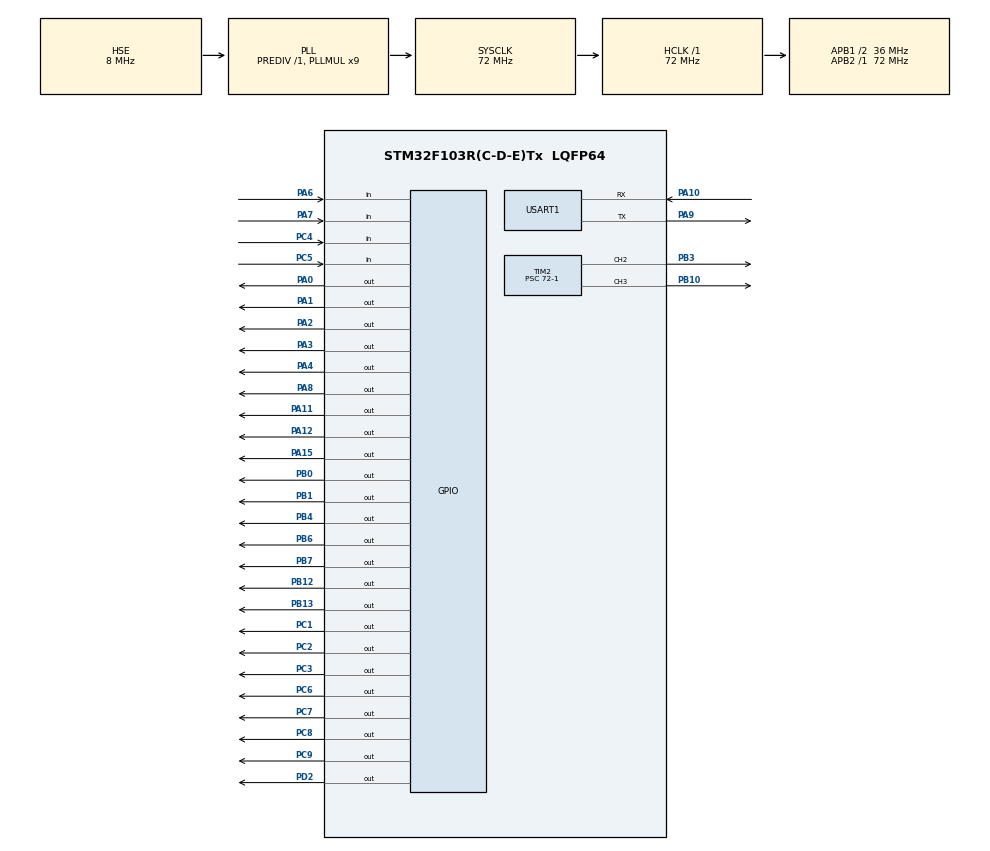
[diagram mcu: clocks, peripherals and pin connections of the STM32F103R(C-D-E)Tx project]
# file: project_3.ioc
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Mcu.Family=STM32F1
Mcu.Name=STM32F103R(C-D-E)Tx
Mcu.Package=LQFP64
NVIC.PriorityGroup=NVIC_PRIORITYGROUP_4
NVIC.USART1_IRQn=true\:0\:0\:false\:false\:true\:true
PA0-WKUP.PinState=GPIO_PIN_SET
PA0-WKUP.Signal=GPIO_Output
PA1.PinState=GPIO_PIN_SET
PA1.Signal=GPIO_Output
PA10.Mode=Asynchronous
PA10.Signal=USART1_RX
PA11.Signal=GPIO_Output
PA12.Signal=GPIO_Output
PA15.Signal=GPIO_Output
PA2.PinState=GPIO_PIN_SET
PA2.Signal=GPIO_Output
PA3.PinState=GPIO_PIN_SET
PA3.Signal=GPIO_Output
PA4.PinState=GPIO_PIN_SET
PA4.Signal=GPIO_Output
PA6.Signal=GPIO_Input
PA7.Signal=GPIO_Input
PA8.Signal=GPIO_Output
PA9.Mode=Asynchronous
PA9.Signal=USART1_TX
PB0.Signal=GPIO_Output
PB1.Signal=GPIO_Output
PB10.GPIO_Speed=GPIO_SPEED_FREQ_HIGH
PB10.Signal=S_TIM2_CH3
PB12.Signal=GPIO_Output
PB13.Signal=GPIO_Output
PB3.GPIO_Speed=GPIO_SPEED_FREQ_HIGH
PB3.Signal=S_TIM2_CH2
PB4.Signal=GPIO_Output
PB6.Signal=GPIO_Output
PB7.Signal=GPIO_Output
PC1.PinState=GPIO_PIN_SET
PC1.Signal=GPIO_Output
PC2.PinState=GPIO_PIN_SET
PC2.Signal=GPIO_Output
PC3.PinState=GPIO_PIN_SET
PC3.Signal=GPIO_Output
PC4.Signal=GPIO_Input
PC5.Signal=GPIO_Input
PC6.Signal=GPIO_Output
PC7.Signal=GPIO_Output
PC8.Signal=GPIO_Output
PC9.Signal=GPIO_Output
PD0-OSC_IN.Mode=HSE-External-Oscillator
PD0-OSC_IN.Signal=RCC_OSC_IN
PD1-OSC_OUT.Mode=HSE-External-Oscillator
PD1-OSC_OUT.Signal=RCC_OSC_OUT
PD2.Signal=GPIO_Output
ProjectManager.HeapSize=0x200
ProjectManager.StackSize=0x400
ProjectManager.TargetToolchain=MDK-ARM V5
RCC.AHBFreq_Value=72000000
RCC.APB1CLKDivider=RCC_HCLK_DIV2
RCC.APB1Freq_Value=36000000
RCC.APB1TimFreq_Value=72000000
RCC.APB2Freq_Value=72000000
RCC.APB2TimFreq_Value=72000000
RCC.HCLKFreq_Value=72000000
RCC.PLLMUL=RCC_PLL_MUL9
RCC.PLLSourceVirtual=RCC_PLLSOURCE_HSE
RCC.SYSCLKFreq_VALUE=72000000
RCC.SYSCLKSource=RCC_SYSCLKSOURCE_PLLCLK
RCC.USBFreq_Value=72000000
SH.S_TIM2_CH2.0=TIM2_CH2,PWM Generation2 CH2
SH.S_TIM2_CH3.0=TIM2_CH3,PWM Generation3 CH3
TIM2.AutoReloadPreload=TIM_AUTORELOAD_PRELOAD_DISABLE
TIM2.Channel-PWM\ Generation2\ CH2=TIM_CHANNEL_2
TIM2.Channel-PWM\ Generation3\ CH3=TIM_CHANNEL_3
TIM2.OCMode_PWM-PWM\ Generation3\ CH3=TIM_OCMODE_PWM2
TIM2.OCPolarity_2=TIM_OCPOLARITY_HIGH
TIM2.Period=1000-1
TIM2.Prescaler=72-1
USART1.VirtualMode=VM_ASYNC
VP_SYS_VS_ND.Mode=No_Debug
VP_TIM2_VS_ClockSourceINT.Mode=Internal
board=custom

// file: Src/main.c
/* USER CODE BEGIN Header */
/**
  ******************************************************************************
  * @file           : main.c
  * @brief          : Main program body
  ******************************************************************************
  ** This notice applies to any and all portions of this file
  * that are not between comment pairs USER CODE BEGIN and
  * USER CODE END. Other portions of this file, whether
  * inserted by the user or by software development tools
  * are owned by their respective copyright owners.
  *
  * COPYRIGHT(c) 2019 STMicroelectronics
  *
  * Redistribution and use in source and binary forms, with or without modification,
  * are permitted provided that the following conditions are met:
  *   1. Redistributions of source code must retain the above copyright notice,
  *      this list of conditions and the following disclaimer.
  *   2. Redistributions in binary form must reproduce the above copyright notice,
  *      this list of conditions and the following disclaimer in the documentation
  *      and/or other materials provided with the distribution.
  *   3. Neither the name of STMicroelectronics nor the names of its contributors
  *      may be used to endorse or promote products derived from this software
  *      without specific prior written permission.
  *
  * THIS SOFTWARE IS PROVIDED BY THE COPYRIGHT HOLDERS AND CONTRIBUTORS "AS IS"
  * AND ANY EXPRESS OR IMPLIED WARRANTIES, INCLUDING, BUT NOT LIMITED TO, THE
  * IMPLIED WARRANTIES OF MERCHANTABILITY AND FITNESS FOR A PARTICULAR PURPOSE ARE
  * DISCLAIMED. IN NO EVENT SHALL THE COPYRIGHT HOLDER OR CONTRIBUTORS BE LIABLE
  * FOR ANY DIRECT, INDIRECT, INCIDENTAL, SPECIAL, EXEMPLARY, OR CONSEQUENTIAL
  * DAMAGES (INCLUDING, BUT NOT LIMITED TO, PROCUREMENT OF SUBSTITUTE GOODS OR
  * SERVICES; LOSS OF USE, DATA, OR PROFITS; OR BUSINESS INTERRUPTION) HOWEVER
  * CAUSED AND ON ANY THEORY OF LIABILITY, WHETHER IN CONTRACT, STRICT LIABILITY,
  * OR TORT (INCLUDING NEGLIGENCE OR OTHERWISE) ARISING IN ANY WAY OUT OF THE USE
  * OF THIS SOFTWARE, EVEN IF ADVISED OF THE POSSIBILITY OF SUCH DAMAGE.
  *
  ******************************************************************************
  */
/* USER CODE END Header */

#include "main.h"

TIM_HandleTypeDef htim2;

UART_HandleTypeDef huart1;

void SystemClock_Config(void);
static void MX_GPIO_Init(void);
static void MX_USART1_UART_Init(void);
static void MX_TIM2_Init(void);
/* USER CODE BEGIN PFP */
int Tick_ms = 0; // 计时用的
int led_hight = 0; // 放到callback中 循环显示led灯
int time_meter = 0; // 时间计数
int time_minute =0;
int time_second =0;
int judge =0 ;// 初始化一个值来判断是否让数码管显示    或变换?
int function_key = 16; // 为实现多个功能设置功能选项键能够切换多个功能
/* USER CODE END PFP */

/* USER CODE BEGIN 0 */
struct GPIO_PACK{
		GPIO_TypeDef * port;
		uint16_t pin;
	};
	struct GPIO_PACK segs[8]= {
	{GPIOA,GPIO_PIN_15},
	{GPIOA,GPIO_PIN_11},
	{GPIOC,GPIO_PIN_9},
	{GPIOC,GPIO_PIN_7},
	{GPIOC,GPIO_PIN_8},
	{GPIOA,GPIO_PIN_12},
	{GPIOA,GPIO_PIN_8},
	{GPIOC,GPIO_PIN_6},
	}	;
	struct GPIO_PACK bits[4]={
	{GPIOD,GPIO_PIN_2},
	{GPIOB,GPIO_PIN_4},
	{GPIOB,GPIO_PIN_6},
	{GPIOB,GPIO_PIN_7},

	};
	struct GPIO_PACK led_array[8]=
{
	{GPIOA,GPIO_PIN_4},
	{GPIOA,GPIO_PIN_3},
	{GPIOA,GPIO_PIN_2},
	{GPIOA,GPIO_PIN_1},
	{GPIOA,GPIO_PIN_0},
	{GPIOC,GPIO_PIN_3},
	{GPIOC,GPIO_PIN_2},
	{GPIOC,GPIO_PIN_1},
};
uint8_t shuzu[]={
	0xc0,0xf9,0xa4,0xb0,0x99,0x92,0x82,
	0xf8,0x80,0x90
};
uint8_t shuzu2[] = {
	0x40,0x79,0x24,0x30,0x19,0x12,0x2,
	0x78,0x0,0x10
};
void delay1ms (unsigned int a){ // 1ms????(12MHz 10??51??????)
	unsigned int i;
	while( a-- != 0){
		for(i = 0; i < 600; i++);
	}
}
void DisplayOnebit(uint8_t digtal,uint8_t bit){
		uint8_t i;
		for(i=0;i<8;i++){
			HAL_GPIO_WritePin(segs[i].port,segs[i].pin,(GPIO_PinState)(shuzu[digtal]&(0x01<<i)));
		}
		for(i=0;i<4;i++){
			HAL_GPIO_WritePin(bits[i].port,bits[i].pin,(GPIO_PinState)(i!=bit));
		}
		delay1ms(5);
}
void DisplayOnebit2(uint8_t digtal,uint8_t bit){
		uint8_t i;
		for(i=0;i<8;i++){
			HAL_GPIO_WritePin(segs[i].port,segs[i].pin,(GPIO_PinState)(shuzu2[digtal]&(0x01<<i)));
		}
		for(i=0;i<4;i++){
			HAL_GPIO_WritePin(bits[i].port,bits[i].pin,(GPIO_PinState)(i!=bit));
		}
		//HAL_Delay(2);
		delay1ms(5);
}

void DisplayDigtal(uint16_t digtal){
	int a=0;

	DisplayOnebit(digtal%10,0);
	HAL_Delay(5);
	if (digtal>=10){
	DisplayOnebit(digtal/10%10,1);
	HAL_Delay(5);
	if (digtal>=100){
	DisplayOnebit(digtal/100%10,2);
	HAL_Delay(5);
	if (digtal>=1000){
	DisplayOnebit(digtal/1000%10,3);
	HAL_Delay(5);

				}
			}
		}
}
struct GPIO_PACK lie[4]={
   {GPIOB,GPIO_PIN_0},
   {GPIOB,GPIO_PIN_1},
   {GPIOB,GPIO_PIN_13},
   {GPIOB,GPIO_PIN_12}
};
struct GPIO_PACK hang[4]={
   {GPIOA,GPIO_PIN_6},
   {GPIOA,GPIO_PIN_7},
   {GPIOC,GPIO_PIN_4},
   {GPIOC,GPIO_PIN_5}
};
void Displaykeying()
	{
		uint8_t i,j,s,key=0;uint8_t k=1;
		for(i=0;i<4;i++)
	{	 HAL_GPIO_WritePin(lie[i].port,lie[i].pin,GPIO_PIN_RESET);
		for(s=0;s<4;s++){
		if(i!=s)
			HAL_GPIO_WritePin(lie[s].port,lie[s].pin,GPIO_PIN_SET);}
		for(j=0;j<4;j++)
	{	k=HAL_GPIO_ReadPin(hang[j].port,hang[j].pin);
		if(k==0)
			HAL_Delay(5);
			if(k==0)
			switch(j)
			{
				case 0:key=j+1+i;break;
				case 1:key=j+4+i;break;
				case 2:key=j+7+i;break;
				case 3:key=j+10+i;break;
			}
		}
	}
	if (key == 15)
		function_key =15;  // 数码管显示的是 计时功能
	else if (key == 16)
			function_key = 16; // 数码管显示的是 led灯亮
	else if(key == 14)
		function_key = 14; // pwm
}

/* USER CODE END 0 */

int main(void)
{

  /* MCU Configuration--------------------------------------------------------*/

  /* Reset of all peripherals, Initializes the Flash interface and the Systick. */
  HAL_Init();

  /* USER CODE BEGIN Init */
	// HAL_SYSTICK_IRQHandler();
  /* USER CODE END Init */

  /* Configure the system clock */
  SystemClock_Config();

  /* Initialize all configured peripherals */
  MX_GPIO_Init();
  MX_USART1_UART_Init();
  MX_TIM2_Init();
  /* USER CODE BEGIN 2 */
//	uint16_t cp=100,cs=300;
//	__HAL_TIM_SET_COMPARE(&htim2,TIM_CHANNEL_2,20);
//   __HAL_TIM_SET_COMPARE(&htim2,TIM_CHANNEL_3,20);
//    HAL_TIM_PWM_Start(&htim2,TIM_CHANNEL_2);
//    HAL_TIM_PWM_Start(&htim2,TIM_CHANNEL_3);
	// HAL_GPIO_TogglePin(GPIOA,GPIO_PIN_1);
	uint16_t dutyCycle = 0;
	HAL_TIM_PWM_Start(&htim2,TIM_CHANNEL_2);
  /* USER CODE END 2 */

  /* Infinite loop */
  while (1)
  {

    /* USER CODE BEGIN 3 */
		Displaykeying();

		if (function_key == 14)
		{

			HAL_GPIO_WritePin(GPIOA,GPIO_PIN_1,0);

			while (dutyCycle < 1000)
				{
					dutyCycle = dutyCycle+20;
					__HAL_TIM_SET_COMPARE(&htim2, TIM_CHANNEL_2, dutyCycle);
					HAL_Delay(10);
				}
				while (dutyCycle)
				{
					dutyCycle =dutyCycle-20;
					__HAL_TIM_SET_COMPARE(&htim2, TIM_CHANNEL_2, dutyCycle);

					HAL_Delay(10);
				}
				HAL_Delay(50);
			}

  }
  /* USER CODE END 3 */
}

void SystemClock_Config(void)
{
  RCC_OscInitTypeDef RCC_OscInitStruct = {0};
  RCC_ClkInitTypeDef RCC_ClkInitStruct = {0};

  /**Initializes the CPU, AHB and APB busses clocks
  */
  RCC_OscInitStruct.OscillatorType = RCC_OSCILLATORTYPE_HSE;
  RCC_OscInitStruct.HSEState = RCC_HSE_ON;
  RCC_OscInitStruct.HSEPredivValue = RCC_HSE_PREDIV_DIV1;
  RCC_OscInitStruct.HSIState = RCC_HSI_ON;
  RCC_OscInitStruct.PLL.PLLState = RCC_PLL_ON;
  RCC_OscInitStruct.PLL.PLLSource = RCC_PLLSOURCE_HSE;
  RCC_OscInitStruct.PLL.PLLMUL = RCC_PLL_MUL9;
  if (HAL_RCC_OscConfig(&RCC_OscInitStruct) != HAL_OK)
  {
    Error_Handler();
  }
  /**Initializes the CPU, AHB and APB busses clocks
  */
  RCC_ClkInitStruct.ClockType = RCC_CLOCKTYPE_HCLK|RCC_CLOCKTYPE_SYSCLK
                              |RCC_CLOCKTYPE_PCLK1|RCC_CLOCKTYPE_PCLK2;
  RCC_ClkInitStruct.SYSCLKSource = RCC_SYSCLKSOURCE_PLLCLK;
  RCC_ClkInitStruct.AHBCLKDivider = RCC_SYSCLK_DIV1;
  RCC_ClkInitStruct.APB1CLKDivider = RCC_HCLK_DIV2;
  RCC_ClkInitStruct.APB2CLKDivider = RCC_HCLK_DIV1;

  if (HAL_RCC_ClockConfig(&RCC_ClkInitStruct, FLASH_LATENCY_2) != HAL_OK)
  {
    Error_Handler();
  }
}

static void MX_TIM2_Init(void)
{

  TIM_ClockConfigTypeDef sClockSourceConfig = {0};
  TIM_MasterConfigTypeDef sMasterConfig = {0};
  TIM_OC_InitTypeDef sConfigOC = {0};

  htim2.Instance = TIM2;
  htim2.Init.Prescaler = 72-1;
  htim2.Init.CounterMode = TIM_COUNTERMODE_UP;
  htim2.Init.Period = 1000-1;
  htim2.Init.ClockDivision = TIM_CLOCKDIVISION_DIV1;
  htim2.Init.AutoReloadPreload = TIM_AUTORELOAD_PRELOAD_DISABLE;
  if (HAL_TIM_Base_Init(&htim2) != HAL_OK)
  {
    Error_Handler();
  }
  sClockSourceConfig.ClockSource = TIM_CLOCKSOURCE_INTERNAL;
  if (HAL_TIM_ConfigClockSource(&htim2, &sClockSourceConfig) != HAL_OK)
  {
    Error_Handler();
  }
  if (HAL_TIM_PWM_Init(&htim2) != HAL_OK)
  {
    Error_Handler();
  }
  sMasterConfig.MasterOutputTrigger = TIM_TRGO_RESET;
  sMasterConfig.MasterSlaveMode = TIM_MASTERSLAVEMODE_DISABLE;
  if (HAL_TIMEx_MasterConfigSynchronization(&htim2, &sMasterConfig) != HAL_OK)
  {
    Error_Handler();
  }
  sConfigOC.OCMode = TIM_OCMODE_PWM1;
  sConfigOC.Pulse = 0;
  sConfigOC.OCPolarity = TIM_OCPOLARITY_HIGH;
  sConfigOC.OCFastMode = TIM_OCFAST_DISABLE;
  if (HAL_TIM_PWM_ConfigChannel(&htim2, &sConfigOC, TIM_CHANNEL_2) != HAL_OK)
  {
    Error_Handler();
  }
  sConfigOC.OCMode = TIM_OCMODE_PWM2;
  if (HAL_TIM_PWM_ConfigChannel(&htim2, &sConfigOC, TIM_CHANNEL_3) != HAL_OK)
  {
    Error_Handler();
  }
  HAL_TIM_MspPostInit(&htim2);

}

static void MX_USART1_UART_Init(void)
{

  huart1.Instance = USART1;
  huart1.Init.BaudRate = 115200;
  huart1.Init.WordLength = UART_WORDLENGTH_8B;
  huart1.Init.StopBits = UART_STOPBITS_1;
  huart1.Init.Parity = UART_PARITY_NONE;
  huart1.Init.Mode = UART_MODE_TX_RX;
  huart1.Init.HwFlowCtl = UART_HWCONTROL_NONE;
  huart1.Init.OverSampling = UART_OVERSAMPLING_16;
  if (HAL_UART_Init(&huart1) != HAL_OK)
  {
    Error_Handler();
  }

}

static void MX_GPIO_Init(void)
{
  GPIO_InitTypeDef GPIO_InitStruct = {0};

  /* GPIO Ports Clock Enable */
  __HAL_RCC_GPIOD_CLK_ENABLE();
  __HAL_RCC_GPIOC_CLK_ENABLE();
  __HAL_RCC_GPIOA_CLK_ENABLE();
  __HAL_RCC_GPIOB_CLK_ENABLE();

  /*Configure GPIO pin Output Level */
  HAL_GPIO_WritePin(GPIOC, GPIO_PIN_1|GPIO_PIN_2|GPIO_PIN_3, GPIO_PIN_SET);

  /*Configure GPIO pin Output Level */
  HAL_GPIO_WritePin(GPIOA, GPIO_PIN_0|GPIO_PIN_1|GPIO_PIN_2|GPIO_PIN_3
                          |GPIO_PIN_4, GPIO_PIN_SET);

  /*Configure GPIO pin Output Level */
  HAL_GPIO_WritePin(GPIOB, GPIO_PIN_0|GPIO_PIN_1|GPIO_PIN_12|GPIO_PIN_13
                          |GPIO_PIN_4|GPIO_PIN_6|GPIO_PIN_7, GPIO_PIN_RESET);

  /*Configure GPIO pin Output Level */
  HAL_GPIO_WritePin(GPIOC, GPIO_PIN_6|GPIO_PIN_7|GPIO_PIN_8|GPIO_PIN_9, GPIO_PIN_RESET);

  /*Configure GPIO pin Output Level */
  HAL_GPIO_WritePin(GPIOA, GPIO_PIN_8|GPIO_PIN_11|GPIO_PIN_12|GPIO_PIN_15, GPIO_PIN_RESET);

  /*Configure GPIO pin Output Level */
  HAL_GPIO_WritePin(GPIOD, GPIO_PIN_2, GPIO_PIN_RESET);

  /*Configure GPIO pins : PC1 PC2 PC3 PC6
                           PC7 PC8 PC9 */
  GPIO_InitStruct.Pin = GPIO_PIN_1|GPIO_PIN_2|GPIO_PIN_3|GPIO_PIN_6
                          |GPIO_PIN_7|GPIO_PIN_8|GPIO_PIN_9;
  GPIO_InitStruct.Mode = GPIO_MODE_OUTPUT_PP;
  GPIO_InitStruct.Pull = GPIO_NOPULL;
  GPIO_InitStruct.Speed = GPIO_SPEED_FREQ_LOW;
  HAL_GPIO_Init(GPIOC, &GPIO_InitStruct);

  /*Configure GPIO pins : PA0 PA1 PA2 PA3
                           PA4 PA8 PA11 PA12
                           PA15 */
  GPIO_InitStruct.Pin = GPIO_PIN_0|GPIO_PIN_1|GPIO_PIN_2|GPIO_PIN_3
                          |GPIO_PIN_4|GPIO_PIN_8|GPIO_PIN_11|GPIO_PIN_12
                          |GPIO_PIN_15;
  GPIO_InitStruct.Mode = GPIO_MODE_OUTPUT_PP;
  GPIO_InitStruct.Pull = GPIO_NOPULL;
  GPIO_InitStruct.Speed = GPIO_SPEED_FREQ_LOW;
  HAL_GPIO_Init(GPIOA, &GPIO_InitStruct);

  /*Configure GPIO pins : PA6 PA7 */
  GPIO_InitStruct.Pin = GPIO_PIN_6|GPIO_PIN_7;
  GPIO_InitStruct.Mode = GPIO_MODE_INPUT;
  GPIO_InitStruct.Pull = GPIO_NOPULL;
  HAL_GPIO_Init(GPIOA, &GPIO_InitStruct);

  /*Configure GPIO pins : PC4 PC5 */
  GPIO_InitStruct.Pin = GPIO_PIN_4|GPIO_PIN_5;
  GPIO_InitStruct.Mode = GPIO_MODE_INPUT;
  GPIO_InitStruct.Pull = GPIO_NOPULL;
  HAL_GPIO_Init(GPIOC, &GPIO_InitStruct);

  /*Configure GPIO pins : PB0 PB1 PB12 PB13
                           PB4 PB6 PB7 */
  GPIO_InitStruct.Pin = GPIO_PIN_0|GPIO_PIN_1|GPIO_PIN_12|GPIO_PIN_13
                          |GPIO_PIN_4|GPIO_PIN_6|GPIO_PIN_7;
  GPIO_InitStruct.Mode = GPIO_MODE_OUTPUT_PP;
  GPIO_InitStruct.Pull = GPIO_NOPULL;
  GPIO_InitStruct.Speed = GPIO_SPEED_FREQ_LOW;
  HAL_GPIO_Init(GPIOB, &GPIO_InitStruct);

  /*Configure GPIO pin : PD2 */
  GPIO_InitStruct.Pin = GPIO_PIN_2;
  GPIO_InitStruct.Mode = GPIO_MODE_OUTPUT_PP;
  GPIO_InitStruct.Pull = GPIO_NOPULL;
  GPIO_InitStruct.Speed = GPIO_SPEED_FREQ_LOW;
  HAL_GPIO_Init(GPIOD, &GPIO_InitStruct);

}

/* USER CODE BEGIN 4 */
void HAL_SYSTICK_Callback(void)
{

	Tick_ms++;
	if(Tick_ms%1000==0)
	{
		if (function_key!=14 ) {
			if(led_hight!=4)
				HAL_GPIO_WritePin(led_array[4].port,led_array[4].pin,1);
		//HAL_GPIO_TogglePin(GPIOA,GPIO_PIN_4);
		if (led_hight==0)
			HAL_GPIO_TogglePin(led_array[7].port,led_array[7].pin);
		else
				HAL_GPIO_TogglePin(led_array[led_hight-1].port,led_array[led_hight-1].pin);
		HAL_GPIO_TogglePin(led_array[led_hight].port,led_array[led_hight].pin);// 反转函数
		  led_hight ++;
	}else  //如果执行功能14 需要把所有灯都先关掉
	{
		for(int j=0;j<8;j++)
			{
			HAL_GPIO_WritePin(led_array[j].port,led_array[j].pin,1);
			}
		led_hight = 0;

		}

		Tick_ms=0;

		time_second++;

		if (led_hight == 8)
			led_hight=0;
		if (time_second == 60)
		{
			time_minute ++;
			time_second = 0;
		}
		if (time_minute ==60& time_second ==60)
		{
			time_minute =0;
			time_second = 0;
		}
	}
	//DisplayDigtal(led_hight);
	if (function_key == 16)
		DisplayOnebit(led_hight,0);
	if(function_key == 15)
	{
		if (time_second<10)
		{
			DisplayOnebit(time_second,0);
			if (time_minute<10)
				DisplayOnebit2(time_minute,1);
			else {
					DisplayOnebit2(time_minute%10,1);
				 DisplayOnebit(time_minute/10,2);
			}
		}
		else{
				DisplayOnebit(time_second%10,0);
				DisplayOnebit(time_second/10,1);
				if (time_minute<10)
				DisplayOnebit2(time_minute,2);
			else {
					DisplayOnebit2(time_minute%10,2);
				 DisplayOnebit(time_minute/10,3);
			}
		}

	}
}

/* USER CODE END 4 */

void Error_Handler(void)
{
}

/************************ (C) COPYRIGHT STMicroelectronics *****END OF FILE****/
